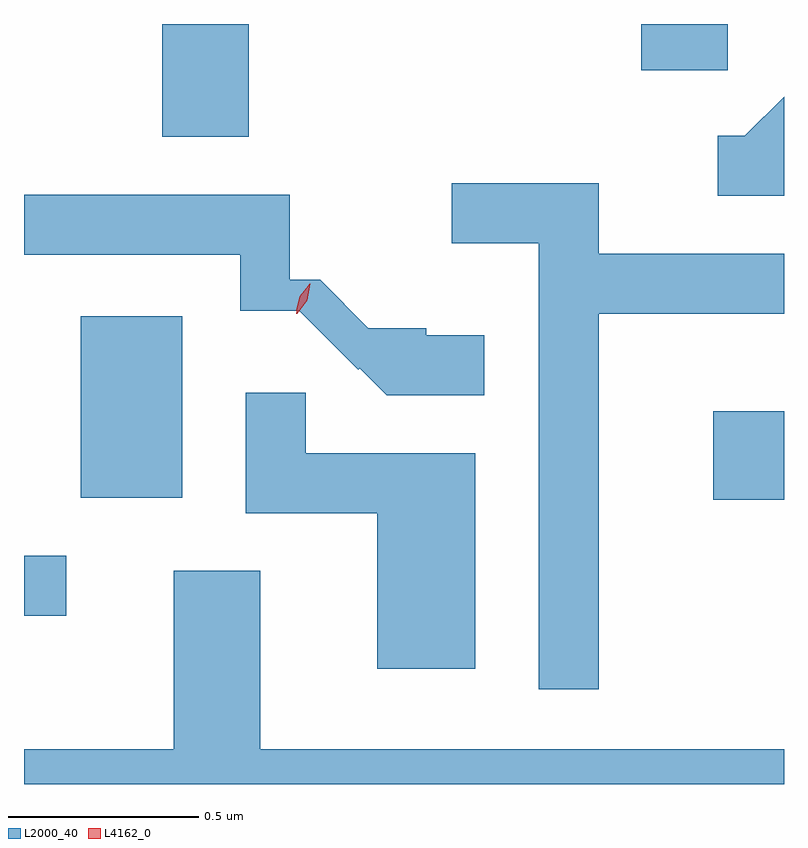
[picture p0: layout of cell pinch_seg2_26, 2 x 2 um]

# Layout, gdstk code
import gdstk
lib = gdstk.Library(unit=1e-6, precision=1e-09)
def R(c, l, rs):  # rectangles x0, y0, x1, y1
    for r in rs: c.add(gdstk.rectangle(r[:2], r[2:], *l))
def P(c, l, *ps):  # polygons
    for p in ps: c.add(gdstk.Polygon(p, *l))
L2000_40 = (2000, 40)
L4162_0 = (4162, 0)

pinch_seg2_26 = lib.new_cell('pinch_seg2_26')
R(pinch_seg2_26, L2000_40, [(1659.187,1020.076,1659.298,1020.234), (1661.001,1020.381,1661.187,1020.614), (1659.336,1020.386,1659.604,1020.864), (1659.551,1021.336,1659.779,1021.633), (1660.811,1021.511,1661.039,1021.633)])
P(pinch_seg2_26, L2000_40, [(1661.187,1021.442),(1661.084,1021.339),(1661.013,1021.339),(1661.013,1021.181),(1661.187,1021.181)],
  [(1660.699,1020.871),(1661.187,1020.871),(1661.187,1021.029),(1660.699,1021.029),(1660.699,1021.214),(1660.313,1021.214),(1660.313,1021.056),(1660.541,1021.056),(1660.541,1019.883),(1660.699,1019.883)],
  [(1660.398,1020.814),(1660.245,1020.814),(1660.245,1020.833),(1660.093,1020.833),(1659.966,1020.96),(1659.886,1020.96),(1659.886,1021.184),(1659.187,1021.184),(1659.187,1021.026),(1659.756,1021.026),(1659.756,1020.879),(1659.911,1020.879),(1660.067,1020.723),(1660.07,1020.727),(1660.141,1020.656),(1660.398,1020.656)],
  [(1660.374,1020.504),(1659.929,1020.504),(1659.929,1020.663),(1659.771,1020.663),(1659.771,1020.346),(1660.116,1020.346),(1660.116,1019.936),(1660.374,1019.936)],
  [(1661.187,1019.724),(1659.809,1019.724),(1659.809,1020.194),(1659.581,1020.194),(1659.581,1019.724),(1659.187,1019.724),(1659.187,1019.633),(1661.187,1019.633)])
P(pinch_seg2_26, L4162_0, [(1659.904,1020.871),(1659.913,1020.915),(1659.939,1020.95),(1659.94,1020.95),(1659.94,1020.95),(1659.932,1020.906),(1659.906,1020.871),(1659.905,1020.871)],
  [(1659.905,1020.877),(1659.904,1020.878),(1659.912,1020.916),(1659.936,1020.945),(1659.937,1020.946),(1659.937,1020.945),(1659.93,1020.907),(1659.906,1020.877)])

lib.write_gds('pinch_seg2_26.gds')
